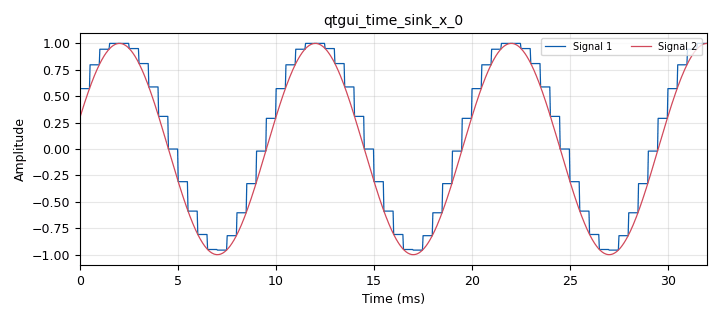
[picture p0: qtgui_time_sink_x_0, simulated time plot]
options:
  parameters:
    generate_options: qt_gui
    id: embeded_block_vectors
    output_language: python
    title: Not titled yet
  states: {}

blocks:
- name: samp_rate
  id: variable
  parameters:
    value: '32000'
  states: {}
- name: vector_length
  id: variable
  parameters:
    value: '16'
  states: {}
- name: analog_sig_source_x_0
  id: analog_sig_source_x
  parameters:
    amp: '1'
    freq: '100'
    offset: '0'
    phase: '0'
    samp_rate: samp_rate
    type: float
    waveform: analog.GR_COS_WAVE
  states: {}
- name: blocks_stream_to_vector_0
  id: blocks_stream_to_vector
  parameters:
    num_items: vector_length
    type: float
  states: {}
- name: blocks_throttle2_0
  id: blocks_throttle2
  parameters:
    samples_per_second: samp_rate
    type: float
  states: {}
- name: blocks_vector_to_stream_0
  id: blocks_vector_to_stream
  parameters:
    num_items: vector_length
    type: float
  states: {}
- name: epy_block_0
  id: epy_block
  parameters:
    _source_code: |
      """
      Embedded Python Blocks:

      Each time this file is saved, GRC will instantiate the first class it finds
      to get ports and parameters of your block. The arguments to __init__  will
      be the parameters. All of them are required to have default values!
      """

      import numpy as np
      from gnuradio import gr


      class blk(gr.sync_block):  # other base classes are basic_block, decim_block, interp_block

          def __init__(self, vector_size=16):  # only default arguments here
              """arguments to this function show up as parameters in GRC"""
              gr.sync_block.__init__(
                  self,
                  name='Max Hold Block',   # will show up in GRC
                  in_sig=[(np.float32,vector_size)],
                  out_sig=[(np.float32,vector_size)]
              )
              # if an attribute with the same name as a parameter is found,
              # a callback is registered (properties work, too).
              
          
          # def work(self, input_items, output_items):
          #     """Max hold every 16 samples"""
          #     for portIndex in range(len(input_items)): 
          #         for vectorIndex in range(len(input_items[portIndex])):
          #             maxValue = np.max(input_items[portIndex][vectorIndex])
          #             for sampleIndex in range(len(input_items[portIndex][vectorIndex])):
          #                 output_items[portIndex][vectorIndex][sampleIndex] = maxValue

          def work(self, input_items, output_items):
              """Max hold every 16 samples"""
              for vectorIndex in range(len(input_items[0])):
                  maxValue = np.max(input_items[0][vectorIndex])
                  for sampleIndex in range(len(input_items[0][vectorIndex])):
                      output_items[0][vectorIndex][sampleIndex] = maxValue


              return len(output_items[0])
    vector_size: vector_length
  states: {}
- name: qtgui_time_sink_x_0
  id: qtgui_time_sink_x
  parameters:
    autoscale: 'True'
    nconnections: '2'
    size: '1024'
    srate: samp_rate
    type: float
  states: {}
- name: virtual_sink_0
  id: virtual_sink
  parameters:
    stream_id: sinusoid
  states: {}
- name: virtual_source_0
  id: virtual_source
  parameters:
    stream_id: sinusoid
  states: {}

connections:
- [analog_sig_source_x_0, '0', blocks_throttle2_0, '0']
- [analog_sig_source_x_0, '0', virtual_sink_0, '0']
- [blocks_stream_to_vector_0, '0', epy_block_0, '0']
- [blocks_throttle2_0, '0', blocks_stream_to_vector_0, '0']
- [blocks_vector_to_stream_0, '0', qtgui_time_sink_x_0, '0']
- [epy_block_0, '0', blocks_vector_to_stream_0, '0']
- [virtual_source_0, '0', qtgui_time_sink_x_0, '1']

metadata:
  file_format: 1
  grc_version: 3.10.6.0
